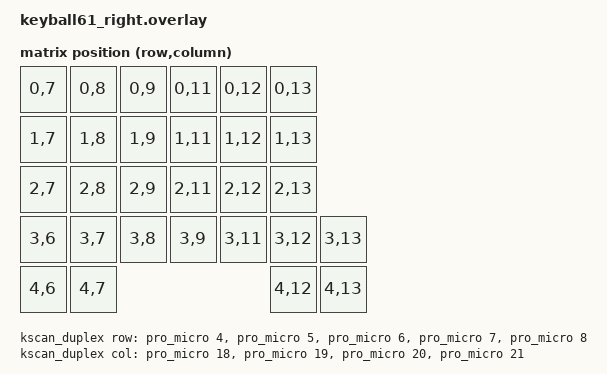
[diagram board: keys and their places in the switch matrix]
/*
 * Copyright (c) 2020 ZMK Contributors
 *
 * SPDX-License-Identifier: MIT
 */
#include <behaviors.dtsi>
#include "keyball61.dtsi"

&kscan0 {
    status = "disabled";
};

/ {
    chosen {
        zmk,kscan = &kscan_duplex;
        zmk,battery = &vbatt;
    };

    kscan_duplex: kscan_duplex {
        compatible = "zmk,kscan-gpio-duplex";
        wakeup-source;
        poll-period-ms = <20>;
        row-gpios
            = <&pro_micro 4 GPIO_ACTIVE_HIGH>
            , <&pro_micro 5 GPIO_ACTIVE_HIGH>
            , <&pro_micro 6 GPIO_ACTIVE_HIGH>
            , <&pro_micro 7 GPIO_ACTIVE_HIGH>
            , <&pro_micro 8 GPIO_ACTIVE_HIGH>
            ;

        col-gpios
            = <&pro_micro 18 GPIO_ACTIVE_HIGH>
            , <&pro_micro 19 GPIO_ACTIVE_HIGH>
            , <&pro_micro 20 GPIO_ACTIVE_HIGH>
            , <&pro_micro 21 GPIO_ACTIVE_HIGH>
            ;
    };
};

&keyball_physical_layout {
    kscan = <&kscan_duplex>;
};

&default_transform {
    compatible = "zmk,matrix-transform";
    columns = <14>;
    rows = <5>;
    col-offset = <6>;

    map = <
        RC(0,7) RC(0,8) RC(0,9) RC(0,11) RC(0,12) RC(0,13)
        RC(1,7) RC(1,8) RC(1,9) RC(1,11) RC(1,12) RC(1,13)
        RC(2,7) RC(2,8) RC(2,9) RC(2,11) RC(2,12) RC(2,13)
        RC(3,6) RC(3,7) RC(3,8) RC(3,9)  RC(3,11) RC(3,12) RC(3,13)
        RC(4,6) RC(4,7)                           RC(4,12) RC(4,13)
    >;
};

&pinctrl {
    spi1_default: spi1_default {
        group1 {
            psels = <NRF_PSEL(SPIM_SCK, 1, 13)>,
                <NRF_PSEL(SPIM_MOSI, 0, 10)>,
                <NRF_PSEL(SPIM_MISO, 0, 10)>;
        };
    };

    spi1_sleep: spi1_sleep {
        group1 {
            psels = <NRF_PSEL(SPIM_SCK, 1, 13)>,
                <NRF_PSEL(SPIM_MOSI, 0, 10)>,
                <NRF_PSEL(SPIM_MISO, 0, 10)>;
            low-power-enable;
        };
    };

    i2c0_default: i2c0_default {
        group1 {
            psels = <NRF_PSEL(TWIM_SDA, 0, 17)>,
                    <NRF_PSEL(TWIM_SCL, 0, 20)>;
        };
    };

    i2c0_sleep: i2c0_sleep {
        group1 {
            psels = <NRF_PSEL(TWIM_SDA, 0, 17)>,
                    <NRF_PSEL(TWIM_SCL, 0, 20)>;
            low-power-enable;
        };
    };
};

&spi1 {
    status = "okay";
    compatible = "nordic,nrf-spim";
    pinctrl-0 = <&spi1_default>;
    pinctrl-1 = <&spi1_sleep>;
    pinctrl-names = "default", "sleep";
    cs-gpios = <&gpio0 9 GPIO_ACTIVE_LOW>;

    trackball: trackball@0 {
        status = "okay";
        compatible = "cormoran,pmw3610";
        reg = <0>;
        spi-max-frequency = <2000000>;
        irq-gpios = <&gpio1 11 (GPIO_ACTIVE_LOW | GPIO_PULL_UP)>;
        evt-type = <INPUT_EV_REL>;
        x-input-code = <INPUT_REL_X>;
        y-input-code = <INPUT_REL_Y>;
        disable-burst-read;
    };
};

&i2c0 {
    status = "okay";
    compatible = "nordic,nrf-twim";
    pinctrl-0 = <&i2c0_default>;
    pinctrl-1 = <&i2c0_sleep>;
    pinctrl-names = "default", "sleep";
    clock-frequency = <I2C_BITRATE_STANDARD>;

    oled: ssd1306@3c {
        compatible = "solomon,ssd1306fb";
        reg = <0x3c>;
        width = <128>;
        height = <32>;
        segment-offset = <0>;
        page-offset = <0>;
        display-offset = <0>;
        multiplex-ratio = <31>;
        segment-remap;
        com-invdir;
        inversion-on;
        prechargep = <0x22>;
    };
};

/ {
    trackball_listener {
        compatible = "zmk,input-listener";
        device = <&trackball>;
        input-processors = <&mouse_runtime_input_processor &scroll_runtime_input_processor>;

        scroll_slow {
            layers = <5>;
            input-processors = <&zip_xy_scaler 1 2 &scroll_runtime_input_processor>;
        };

        snipe {
            layers = <6>;
            input-processors = <&zip_xy_scaler 1 2 &mouse_runtime_input_processor>;
        };
    };
};
